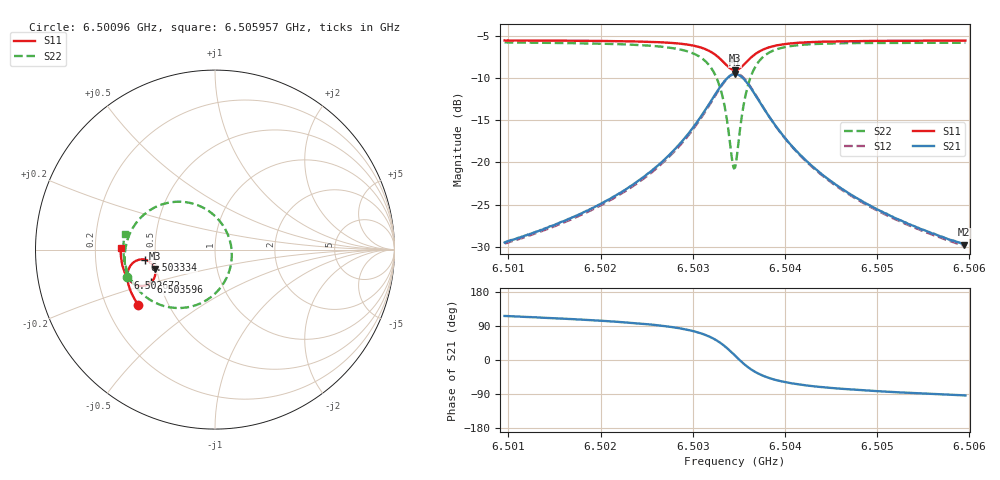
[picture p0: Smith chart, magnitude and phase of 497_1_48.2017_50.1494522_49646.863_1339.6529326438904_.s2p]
#  HZ  S  RI  R  50.00
! Rohde & Schwarz Vector Network Analyzer
! Rohde-Schwarz,ZNB20-2Port,1311601062101988,3.16
! Created: UTC 3/20/2024, 11:58:18 AM
! freq[Hz]  re:S11  im:S11  re:S21  im:S21  re:S12  im:S12  re:S22  im:S22
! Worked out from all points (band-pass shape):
!   401 points, 6.50096 GHz to 6.505957 GHz, reference 50 ohm
!   highest |S21| = -9.54 dB at 6.503459 GHz (marker M1); lowest = -29.7 dB at 6.505945 GHz (marker M2)
!   |S21| within 3 dB of the highest: 6.503209 GHz to 6.503709 GHz (499.9 kHz wide, 0.00769 % of centre)
!   lowest |S11| = -9.1 dB at 6.503459 GHz (marker M3), VSWR 2.08, Z = 24.4 - j5.91 ohm
!   |S11| at or under -10 dB: nowhere
!   |S22| runs from -20.7 to -5.8 dB; largest |S21 - S12| = 0.011
!   S11 on the Smith chart (normalised r, x): 6.50096 GHz: 0.34, -0.29; 6.502672 GHz: 0.33, -0.14; 6.503334 GHz: 0.44, -0.06; 6.503596 GHz: 0.45, -0.19; 6.505957 GHz: 0.31, +0.01
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6.50096e9  -0.4265 -0.3098  -0.0148 0.0302  -0.0133 0.0303  -0.4897 -0.1543
6.501797e9  -0.4626 -0.2478  -0.0141 0.048  -0.012 0.0477  -0.5029 -0.0655
6.5022593e9  -0.4787 -0.2068  -0.0112 0.0676  -0.00826 0.0666  -0.4997 0.000622
6.502634e9  -0.4877 -0.165  -0.00208 0.0972  0.00123 0.095  -0.48 0.0758
6.5026715e9  -0.4881 -0.1603  -0.000375 0.1015  0.00312 0.099  -0.4761 0.0853
6.5029463e9  -0.484 -0.1172  0.0266 0.1443  0.03 0.1399  -0.4203 0.1713
6.5031337e9  -0.4624 -0.079  0.0812 0.1865  0.0833 0.1806  -0.3158 0.2442
6.5032462e9  -0.4295 -0.0581  0.1509 0.2043  0.1513 0.1985  -0.1905 0.2667
6.5033336e9  -0.3886 -0.0565  0.2311 0.1879  0.2311 0.1835  -0.0518 0.2261
6.5034335e9  -0.3419 -0.0913  0.316 0.1001  0.3188 0.0961  0.0817 0.0543
6.5034585e9  -0.3353 -0.1061  0.3265 0.0673  0.33 0.0624  0.093 -0.00666
6.5034835e9  -0.3322 -0.1221  0.33 0.0332  0.334 0.0272  0.0911 -0.069
6.503521e9  -0.3342 -0.1457  0.3232 -0.0162  0.3268 -0.0245  0.065 -0.1566
6.503596e9  -0.3558 -0.1823  0.2778 -0.0919  0.2782 -0.1026  -0.0423 -0.2784
6.5037084e9  -0.4008 -0.2022  0.1924 -0.1373  0.1876 -0.1466  -0.2154 -0.3254
6.5038708e9  -0.4475 -0.1927  0.1096 -0.1339  0.1028 -0.1389  -0.3647 -0.2781
6.5040457e9  -0.4753 -0.1714  0.0646 -0.1134  0.0586 -0.1158  -0.4375 -0.2126
6.5042955e9  -0.4963 -0.1414  0.0343 -0.0888  0.0297 -0.0893  -0.4814 -0.1399
6.5046453e9  -0.5112 -0.1047  0.016 -0.0665  0.0126 -0.0662  -0.5033 -0.069
6.5051325e9  -0.5214 -0.0592  0.00514 -0.0486  0.00286 -0.0478  -0.5102 0.000955
6.5059445e9  -0.5265 0.00969  -0.00205 -0.0326  -0.00322 -0.0319  -0.5028 0.0873
6.505957e9  -0.5264 0.0107  -0.00199 -0.0326  -0.00323 -0.0318  -0.5027 0.0886
